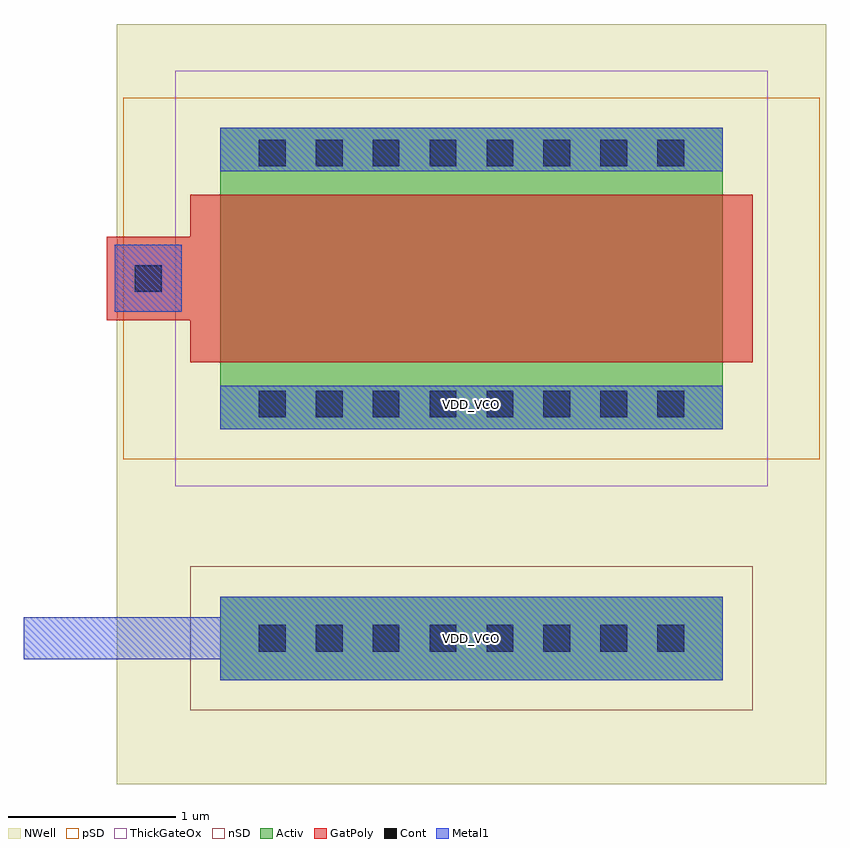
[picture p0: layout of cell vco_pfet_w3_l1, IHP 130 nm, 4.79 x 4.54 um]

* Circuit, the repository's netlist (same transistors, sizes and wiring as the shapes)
* extracted by klt extract --deck sg13cmos5l

* cell vco_pfet_w3_l1
* pin VDD_VCO
.SUBCKT vco_pfet_w3_l1 VDD_VCO
* device instance $1 r0 *1 2.8,3.36 pfet
X$1 \$2 \$1 \$3 VDD_VCO sg13_hv_pmos L=1U W=3U AS=1.2P AD=1.2P PS=6.8U PD=6.8U
.ENDS vco_pfet_w3_l1

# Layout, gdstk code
import gdstk
lib = gdstk.Library(unit=1e-6, precision=1e-09)
def R(c, l, rs):  # rectangles x0, y0, x1, y1
    for r in rs: c.add(gdstk.rectangle(r[:2], r[2:], *l))
def A(c, l, x, y, w, h, nx, ny, dx, dy):  # array of equal rectangles
    R(c, l, [(x+i*dx, y+j*dy, x+i*dx+w, y+j*dy+h) for i in range(nx) for j in range(ny)])
Activ = (1, 0)
GatPoly = (5, 0)
Cont = (6, 0)
nSD = (7, 0)
Metal1 = (8, 0)
pSD = (14, 0)
NWell = (31, 0)
ThickGateOx = (44, 0)

vco_pfet_w3_l1 = lib.new_cell('vco_pfet_w3_l1')
R(vco_pfet_w3_l1, Activ, [(1.3,0.96,4.3,1.46), (1.3,2.46,4.3,4.26)])
R(vco_pfet_w3_l1, GatPoly, [(1.12,2.86,4.48,3.86), (0.62,3.11,1.12,3.61)])
A(vco_pfet_w3_l1, Cont, 1.53, 1.13, 0.16, 0.16, 8, 2, 0.34, 1.4)
A(vco_pfet_w3_l1, Cont, 1.53, 4.03, 0.16, 0.16, 8, 1, 0.34, 0)
R(vco_pfet_w3_l1, Cont, [(0.79,3.28,0.95,3.44)])
R(vco_pfet_w3_l1, nSD, [(1.12,0.78,4.48,1.64)])
R(vco_pfet_w3_l1, Metal1, [(1.3,0.96,4.3,1.46), (0.125,1.085,1.3,1.335), (1.3,2.46,4.3,2.72), (0.67,3.16,1.07,3.56), (1.3,4,4.3,4.26)])
R(vco_pfet_w3_l1, pSD, [(0.72,2.28,4.88,4.44)])
R(vco_pfet_w3_l1, NWell, [(0.68,0.34,4.92,4.88)])
R(vco_pfet_w3_l1, ThickGateOx, [(1.03,2.12,4.57,4.6)])
vco_pfet_w3_l1.add(gdstk.Label('VDD_VCO', (2.8,1.21), layer=8, texttype=2))
vco_pfet_w3_l1.add(gdstk.Label('VDD_VCO', (2.8,2.61), layer=31, texttype=2))

lib.write_gds('vco_pfet_w3_l1.gds')
